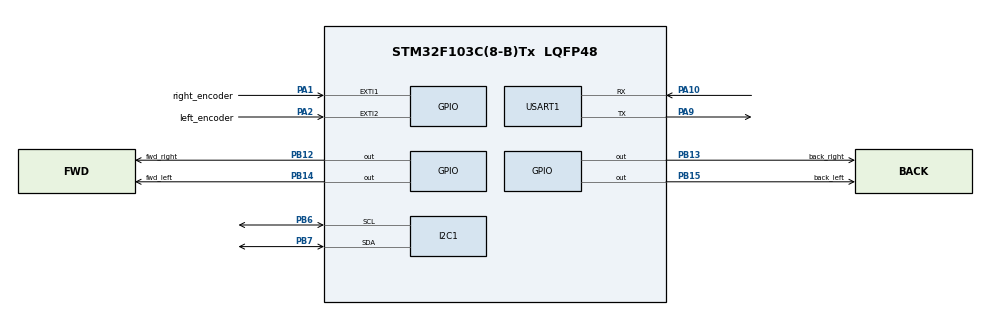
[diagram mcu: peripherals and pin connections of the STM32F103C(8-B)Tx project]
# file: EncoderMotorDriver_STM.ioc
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Mcu.Family=STM32F1
Mcu.Name=STM32F103C(8-B)Tx
Mcu.Package=LQFP48
NVIC.EXTI1_IRQn=true\:0\:0\:false\:false\:true\:true\:true
NVIC.EXTI2_IRQn=true\:0\:0\:false\:false\:true\:true\:true
NVIC.PriorityGroup=NVIC_PRIORITYGROUP_4
PA1.GPIO_Label=right_encoder
PA1.GPIO_PuPd=GPIO_PULLDOWN
PA1.Signal=GPXTI1
PA10.Mode=Asynchronous
PA10.Signal=USART1_RX
PA13.Mode=Serial_Wire
PA13.Signal=SYS_JTMS-SWDIO
PA14.Mode=Serial_Wire
PA14.Signal=SYS_JTCK-SWCLK
PA2.GPIO_Label=left_encoder
PA2.GPIO_PuPd=GPIO_PULLDOWN
PA2.Signal=GPXTI2
PA9.Mode=Asynchronous
PA9.Signal=USART1_TX
PB12.GPIO_Label=fwd_right
PB12.GPIO_PuPd=GPIO_PULLDOWN
PB12.Signal=GPIO_Output
PB13.GPIO_Label=back_right
PB13.GPIO_PuPd=GPIO_PULLDOWN
PB13.Signal=GPIO_Output
PB14.GPIO_Label=fwd_left
PB14.GPIO_PuPd=GPIO_PULLDOWN
PB14.Signal=GPIO_Output
PB15.GPIO_Label=back_left
PB15.GPIO_PuPd=GPIO_PULLDOWN
PB15.Signal=GPIO_Output
PB6.Mode=I2C
PB6.Signal=I2C1_SCL
PB7.Mode=I2C
PB7.Signal=I2C1_SDA
ProjectManager.HeapSize=0x200
ProjectManager.StackSize=0x400
ProjectManager.TargetToolchain=Makefile
RCC.APB1Freq_Value=8000000
RCC.APB2Freq_Value=8000000
USART1.VirtualMode=VM_ASYNC
board=custom

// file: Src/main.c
/* USER CODE BEGIN Header */
/**
  ******************************************************************************
  * @file           : main.c
  * @brief          : Main program body
  ******************************************************************************
  * @attention
  *
  * <h2><center>&copy; Copyright (c) 2021 STMicroelectronics.
  * All rights reserved.</center></h2>
  *
  * This software component is licensed by ST under BSD 3-Clause license,
  * the "License"; You may not use this file except in compliance with the
  * License. You may obtain a copy of the License at:
  *                        opensource.org/licenses/BSD-3-Clause
  *
  ******************************************************************************
  */
/* USER CODE END Header */
#include "main.h"

/* USER CODE BEGIN Includes */
#include <stdio.h>
#include <string.h>
#include <stdlib.h>
/* USER CODE END Includes */

I2C_HandleTypeDef hi2c1;

UART_HandleTypeDef huart1;

void SystemClock_Config(void);
static void MX_GPIO_Init(void);
static void MX_USART1_UART_Init(void);
static void MX_I2C1_Init(void);

/* USER CODE BEGIN 0 */

#define RIGHT 0x02
#define LEFT 0x4
#define FWD_BACK 0x08
#define RIGHT_MOTOR_FINISH 0x16
#define LEFT_MOTOR_FINISH 0x32

/*
1 complete revolution = 695 ticks
wheel dia = 44mm
wheel circumference = 2*pi*22mm = 138.23mm or 13.823 cm

so 1tick = 138.23mm/695 ticks = 0.198892 mm/ticks

so 0.198892mm = 1 tick hence 138.23mm = 138.23mm/0.19892mm/tics = x ticks
*/

#define TURN_RADIUS                                   (84U) //mm
#define WHEEL_DIA                                     (44U) //mm
#define ONE_REVOLUTION_TOTAL_TICK                     (695U) //Tick
#define WHEEL_CIRCUMFERENCE                           (2*3.14*WHEEL_DIA)
#define MM_PAR_TICK                                   (WHEEL_CIRCUMFERENCE/ONE_REVOLUTION_TOTAL_TICK)
#define MM_TO_TICKS(x)                                (x/MM_PAR_TICK)
/*for Rotation :
turning radus = 87mm
total circumference = 2*3.14*87mm = 546.36mm
*/
#define TURNING_circumference                         (2*3.14*TURN_RADIUS)
#define ANGLE_TO_MM_TRAVEL(x)                         (TURNING_circumference*(x/360))

static unsigned int ticks_left = 0;
static unsigned int ticks_right = 0;
static unsigned int notify = 1;
uint64_t total_ticks_to_run = 0;
float mm_distance = 0;
uint16_t right_Pin = fwd_right_Pin;
uint16_t left_Pin = fwd_left_Pin;
uint16_t angle = 0;
uint8_t rot_dir = RIGHT;
char *ack_str = "DONE#";
/* USER CODE END 0 */

int main(void)
{

  /* MCU Configuration--------------------------------------------------------*/

  /* Reset of all peripherals, Initializes the Flash interface and the Systick. */
  HAL_Init();

  /* Configure the system clock */
  SystemClock_Config();

  /* Initialize all configured peripherals */
  MX_GPIO_Init();
  MX_USART1_UART_Init();
  MX_I2C1_Init();
  /* USER CODE BEGIN 2 */
/*
1 complete revolution = 695 ticks
wheel dia = 44mm
wheel circumference = 2*pi*22mm = 138.23mm or 13.823 cm

so 1tick = 138.23mm/695 ticks = 0.198892 mm/ticks
*/
  uint8_t rBuff [17] = {0};
  uint8_t temp[5];
  uint8_t err = 0;

  /* USER CODE END 2 */

  /* Infinite loop */
  while (1)
  {

    /* USER CODE BEGIN 3 */
    /* Read Serial instructs */
    /* Clear all buffers */
    err = 0;
    memset(rBuff,0x00,sizeof(rBuff));
    memset(temp,0x00,sizeof(temp));

    /* Wait forever for next command from CN1*/
    HAL_UART_Receive(&huart1,rBuff,16,0xff);

    /* Parse the packet */
    if(rBuff[0] == 'S')
    {
      /* Total ticks */
      memcpy(temp,&rBuff[2],4);
      /* Reset everything*/
      ticks_left = 0;
      ticks_right = 0;
      notify = 0;

      if (rBuff[1] == 'D')
      {
        /* Convert MM to Ticks */
        mm_distance = atoi((char*)temp);
        total_ticks_to_run = (uint64_t)(mm_distance/0.199F);
      }
      else if (rBuff[1] == 'T')
      {
        total_ticks_to_run = atoi((char*)temp);
      }
      /* Rotate the car */
      else if (rBuff[1]=='A')
      {
        /* in this condition we will skip the tick/mm length */
        /* 1st copy the angle of rotation */
        memset(temp,0x00,sizeof(temp));
        memcpy(temp,&rBuff[12],3);
        angle = atoi((char*)temp);
        /* Calculate the total rotation of wheel to achieve it */
        mm_distance = (TURNING_circumference * (angle/360.0F));
        total_ticks_to_run = (uint64_t)(mm_distance/0.199F);
        /* Now set the pins based on dir of rotation */
        if(rBuff[11] == 'R')
        {
          /* Right Rotation  */
          left_Pin = fwd_left_Pin;
          right_Pin = 0;
          HAL_GPIO_WritePin(GPIOB,fwd_left_Pin,1);
          HAL_GPIO_WritePin(GPIOB,fwd_right_Pin,0);
          rot_dir = RIGHT;
          HAL_NVIC_EnableIRQ(EXTI1_IRQn);
          HAL_NVIC_EnableIRQ(EXTI2_IRQn);

        }
        else if ( rBuff[11]== 'L')
        {
          /* Left Rotation */
          left_Pin = 0;
          right_Pin = fwd_right_Pin;
          HAL_GPIO_WritePin(GPIOB,fwd_left_Pin,0);
          HAL_GPIO_WritePin(GPIOB,fwd_right_Pin,1);
          HAL_NVIC_EnableIRQ(EXTI1_IRQn);
          HAL_NVIC_EnableIRQ(EXTI2_IRQn);
          rot_dir = LEFT;
        }
         /* Rotation from the center of robot */
        else if(rBuff[11] == 'r')
        {
          /* in this case each wheel has to turn only half of the total ticks */
          total_ticks_to_run = total_ticks_to_run/2;
          /* Right Rotation  */
          left_Pin = fwd_left_Pin;
          right_Pin = back_right_Pin;
          HAL_GPIO_WritePin(GPIOB,fwd_left_Pin,1);
          HAL_GPIO_WritePin(GPIOB,fwd_right_Pin,0);
          rot_dir = FWD_BACK;
          HAL_NVIC_EnableIRQ(EXTI1_IRQn);
          HAL_NVIC_EnableIRQ(EXTI2_IRQn);

        }
        else if ( rBuff[11]== 'l')
        {
          /* in this case each wheel has to turn only half of the total ticks */
          total_ticks_to_run = total_ticks_to_run/2;
          /* Left Rotation */
          left_Pin = back_left_Pin;
          right_Pin = fwd_right_Pin;
          HAL_GPIO_WritePin(GPIOB,fwd_left_Pin,0);
          HAL_GPIO_WritePin(GPIOB,fwd_right_Pin,1);
          HAL_NVIC_EnableIRQ(EXTI1_IRQn);
          HAL_NVIC_EnableIRQ(EXTI2_IRQn);
          rot_dir = FWD_BACK;
        }
        continue;
      }
      else
      {
        /* error abort */
        err = 1U;
      }
      if(err == 0)
      {
        /* To achieve fwd and back function */
        if(rBuff[7] == '0' && rBuff[8] == '0')
        {
          left_Pin = back_left_Pin;
          right_Pin = back_right_Pin;
        }
        else if(rBuff[7] == '1' && rBuff[8] == '1')
        {
          left_Pin = fwd_left_Pin;
          right_Pin = fwd_right_Pin;
        }
        /* right rotation and left rotation to angle*/
        HAL_GPIO_WritePin(GPIOB,fwd_left_Pin,rBuff[7]-'0');
        HAL_GPIO_WritePin(GPIOB,fwd_right_Pin,rBuff[8]-'0');
        HAL_GPIO_WritePin(GPIOB,back_left_Pin,rBuff[9]-'0');
        HAL_GPIO_WritePin(GPIOB,back_right_Pin,rBuff[10]-'0');
        HAL_NVIC_EnableIRQ(EXTI1_IRQn);
        HAL_NVIC_EnableIRQ(EXTI2_IRQn);
        rot_dir = FWD_BACK;
      }

    }
    if(err > 0)
    {
      HAL_UART_Abort(&huart1);
    }
  }
  /* USER CODE END 3 */
}

void SystemClock_Config(void)
{
  RCC_OscInitTypeDef RCC_OscInitStruct = {0};
  RCC_ClkInitTypeDef RCC_ClkInitStruct = {0};

  /** Initializes the RCC Oscillators according to the specified parameters
  * in the RCC_OscInitTypeDef structure.
  */
  RCC_OscInitStruct.OscillatorType = RCC_OSCILLATORTYPE_HSI;
  RCC_OscInitStruct.HSIState = RCC_HSI_ON;
  RCC_OscInitStruct.HSICalibrationValue = RCC_HSICALIBRATION_DEFAULT;
  RCC_OscInitStruct.PLL.PLLState = RCC_PLL_NONE;
  if (HAL_RCC_OscConfig(&RCC_OscInitStruct) != HAL_OK)
  {
    Error_Handler();
  }
  /** Initializes the CPU, AHB and APB buses clocks
  */
  RCC_ClkInitStruct.ClockType = RCC_CLOCKTYPE_HCLK|RCC_CLOCKTYPE_SYSCLK
                              |RCC_CLOCKTYPE_PCLK1|RCC_CLOCKTYPE_PCLK2;
  RCC_ClkInitStruct.SYSCLKSource = RCC_SYSCLKSOURCE_HSI;
  RCC_ClkInitStruct.AHBCLKDivider = RCC_SYSCLK_DIV1;
  RCC_ClkInitStruct.APB1CLKDivider = RCC_HCLK_DIV1;
  RCC_ClkInitStruct.APB2CLKDivider = RCC_HCLK_DIV1;

  if (HAL_RCC_ClockConfig(&RCC_ClkInitStruct, FLASH_LATENCY_0) != HAL_OK)
  {
    Error_Handler();
  }
}

static void MX_I2C1_Init(void)
{

  hi2c1.Instance = I2C1;
  hi2c1.Init.ClockSpeed = 100000;
  hi2c1.Init.DutyCycle = I2C_DUTYCYCLE_2;
  hi2c1.Init.OwnAddress1 = 0;
  hi2c1.Init.AddressingMode = I2C_ADDRESSINGMODE_7BIT;
  hi2c1.Init.DualAddressMode = I2C_DUALADDRESS_DISABLE;
  hi2c1.Init.OwnAddress2 = 0;
  hi2c1.Init.GeneralCallMode = I2C_GENERALCALL_DISABLE;
  hi2c1.Init.NoStretchMode = I2C_NOSTRETCH_DISABLE;
  if (HAL_I2C_Init(&hi2c1) != HAL_OK)
  {
    Error_Handler();
  }

}

static void MX_USART1_UART_Init(void)
{

  huart1.Instance = USART1;
  huart1.Init.BaudRate = 115200;
  huart1.Init.WordLength = UART_WORDLENGTH_8B;
  huart1.Init.StopBits = UART_STOPBITS_1;
  huart1.Init.Parity = UART_PARITY_NONE;
  huart1.Init.Mode = UART_MODE_TX_RX;
  huart1.Init.HwFlowCtl = UART_HWCONTROL_NONE;
  huart1.Init.OverSampling = UART_OVERSAMPLING_16;
  if (HAL_UART_Init(&huart1) != HAL_OK)
  {
    Error_Handler();
  }

}

static void MX_GPIO_Init(void)
{
  GPIO_InitTypeDef GPIO_InitStruct = {0};

  /* GPIO Ports Clock Enable */
  __HAL_RCC_GPIOA_CLK_ENABLE();
  __HAL_RCC_GPIOB_CLK_ENABLE();

  /*Configure GPIO pin Output Level */
  HAL_GPIO_WritePin(GPIOB, fwd_right_Pin|back_right_Pin|fwd_left_Pin|back_left_Pin, GPIO_PIN_RESET);

  /*Configure GPIO pins : right_encoder_Pin left_encoder_Pin */
  GPIO_InitStruct.Pin = right_encoder_Pin|left_encoder_Pin;
  GPIO_InitStruct.Mode = GPIO_MODE_IT_RISING;
  GPIO_InitStruct.Pull = GPIO_PULLDOWN;
  HAL_GPIO_Init(GPIOA, &GPIO_InitStruct);

  /*Configure GPIO pins : fwd_right_Pin back_right_Pin fwd_left_Pin back_left_Pin */
  GPIO_InitStruct.Pin = fwd_right_Pin|back_right_Pin|fwd_left_Pin|back_left_Pin;
  GPIO_InitStruct.Mode = GPIO_MODE_OUTPUT_PP;
  GPIO_InitStruct.Pull = GPIO_PULLDOWN;
  GPIO_InitStruct.Speed = GPIO_SPEED_FREQ_LOW;
  HAL_GPIO_Init(GPIOB, &GPIO_InitStruct);

  /* EXTI interrupt init*/
  HAL_NVIC_SetPriority(EXTI1_IRQn, 0, 0);
  HAL_NVIC_EnableIRQ(EXTI1_IRQn);

  HAL_NVIC_SetPriority(EXTI2_IRQn, 0, 0);
  HAL_NVIC_EnableIRQ(EXTI2_IRQn);

}

/* USER CODE BEGIN 4 */
void HAL_GPIO_EXTI_Callback(uint16_t GPIO_Pin)
{
  if(GPIO_Pin == right_encoder_Pin)
  {
    ticks_right ++;
    // notify = 1;
  }
  if(GPIO_Pin == left_encoder_Pin)
  {
    ticks_left++;
    // notify = 1;
  }

  /* For FWD only */
  if(rot_dir == FWD_BACK)
  {
    if(notify != (LEFT_MOTOR_FINISH|RIGHT_MOTOR_FINISH))
    {
      /* both motor has to run in syn */
      /* if left motor has turned more stop the left motor and start the right motor */
      if(ticks_left > ticks_right && ticks_left < total_ticks_to_run)
      {
        HAL_GPIO_WritePin(GPIOB,left_Pin,0);
        HAL_GPIO_WritePin(GPIOB,right_Pin,1);
      }
      /* if right motor has turned more stop right and start left */
      else if(ticks_left < ticks_right && ticks_right < total_ticks_to_run)
      {
        HAL_GPIO_WritePin(GPIOB,left_Pin,1);
        HAL_GPIO_WritePin(GPIOB,right_Pin,0);
      }
      /*Both motors running equally keep them running*/
      else
      {
        HAL_GPIO_WritePin(GPIOB,left_Pin,1);
        HAL_GPIO_WritePin(GPIOB,right_Pin,1);
      }
    }

    /* Stop the motor left motor if it has reached to desired ticks
       also good advoice to disable the interrupt for this motor*/
    if( (ticks_left >= total_ticks_to_run) )
    {
      HAL_GPIO_WritePin(GPIOB,left_Pin,0);
      notify |= LEFT_MOTOR_FINISH;
    }
    /* Stop the motor right motor if it has reached to desired ticks
       also good advoice to disable the interrupt for this motor*/
    if( (ticks_right >= total_ticks_to_run) )
    {
      HAL_GPIO_WritePin(GPIOB,right_Pin,0);
     notify |= RIGHT_MOTOR_FINISH;
    }
  }
  /* Right roatation */
  else if (rot_dir == RIGHT)
  {
    /* Stop the motor */
    if( (ticks_left >= total_ticks_to_run) )
    {
      HAL_GPIO_WritePin(GPIOB,left_Pin,0);
      notify |= LEFT;
    }

  }
  /* Left rotation */
  else if (rot_dir == LEFT)
  {
    /* Stop the motor */
    if( (ticks_right >= total_ticks_to_run) )
    {
      HAL_GPIO_WritePin(GPIOB,right_Pin,0);
      notify |= RIGHT;

    }
  }
  if( (notify == (LEFT_MOTOR_FINISH|RIGHT_MOTOR_FINISH)) || /*1st condition for FW and bw movement*/
      (notify == LEFT) || (notify == RIGHT) )
  {
    HAL_UART_Transmit(&huart1,(uint8_t*)ack_str,sizeof(ack_str),2);
    HAL_NVIC_DisableIRQ(EXTI2_IRQn); /* Left Motor */
    HAL_NVIC_DisableIRQ(EXTI1_IRQn); /* Right Motor */
  }
}
/* USER CODE END 4 */

void Error_Handler(void)
{
  __disable_irq();
  while (1)
  {
  }
}

/************************ (C) COPYRIGHT STMicroelectronics *****END OF FILE****/
